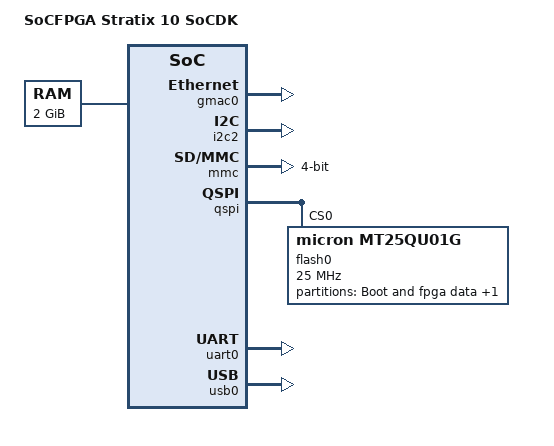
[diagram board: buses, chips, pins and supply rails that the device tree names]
// SPDX-License-Identifier: GPL-2.0
/*
 * Copyright (C) 2018-2019 Intel Corporation
 */

#include "socfpga_stratix10.dtsi"

/ {
	model = "SoCFPGA Stratix 10 SoCDK";

	aliases {
		ethernet0 = &gmac0;
		i2c = &i2c2;
		spi1 = &spim0;
		spi2 = &spim1;
		i2c0 = &i2c1;
		serial0 = &uart0;
	};

	chosen {
		stdout-path = "serial0:115200n8";
		bootargs = "console=ttyS0,115200";
		u-boot,boot0 = <&mmc>;
	};


	memory {
		device_type = "memory";
		reg = <0 0x00000000 0 0x80000000>; /* 2GB */
		u-boot,dm-pre-reloc;
	};
};

&gpio0 {
	status = "okay";
};

&gpio1 {
	status = "okay";
};

&gmac0 {
        status = "okay";
};

&gmac1 {
	status = "disabled";
};

&i2c2 {
	status = "okay";
};

&spim0 {
        status = "okay"
};

&mmc {
	status = "okay";
	cap-sd-highspeed;
	cap-mmc-highspeed;
	broken-cd;
        num-slots = <1>;
	bus-width = <4>;
	drvsel = <3>;
	smplsel = <0>;
};

&qspi {
	flash0: mt25qu01g@0 {
		#address-cells = <1>;
		#size-cells = <0>;
		compatible = "micron,mt25qu01g","spi-flash";
		reg = <0>; /* chip select */
		spi-max-frequency = <25000000>; /*<50000000>*/

		m25p,fast-read;
		cdns,page-size = <256>;
		cdns,block-size = <16>;
		cdns,read-delay = <1>;
		cdns,tshsl-ns = <50>;
		cdns,tsd2d-ns = <50>;
		cdns,tchsh-ns = <4>;
		cdns,tslch-ns = <4>;

		partitions {
			compatible = "fixed-partitions";
			#address-cells = <1>;
			#size-cells = <1>;

			qspi_boot: partition@0 {
				label = "Boot and fpga data";
				reg = <0x0 0x4000000>;
			};

			qspi_rootfs: partition@4000000 {
				label = "Root Filesystem - JFFS2";
				reg = <0x4000000 0x4000000>;
			};
		};
	};
};

&uart0 {
	status = "okay";
};

&usb0 {
	status = "okay";
};
